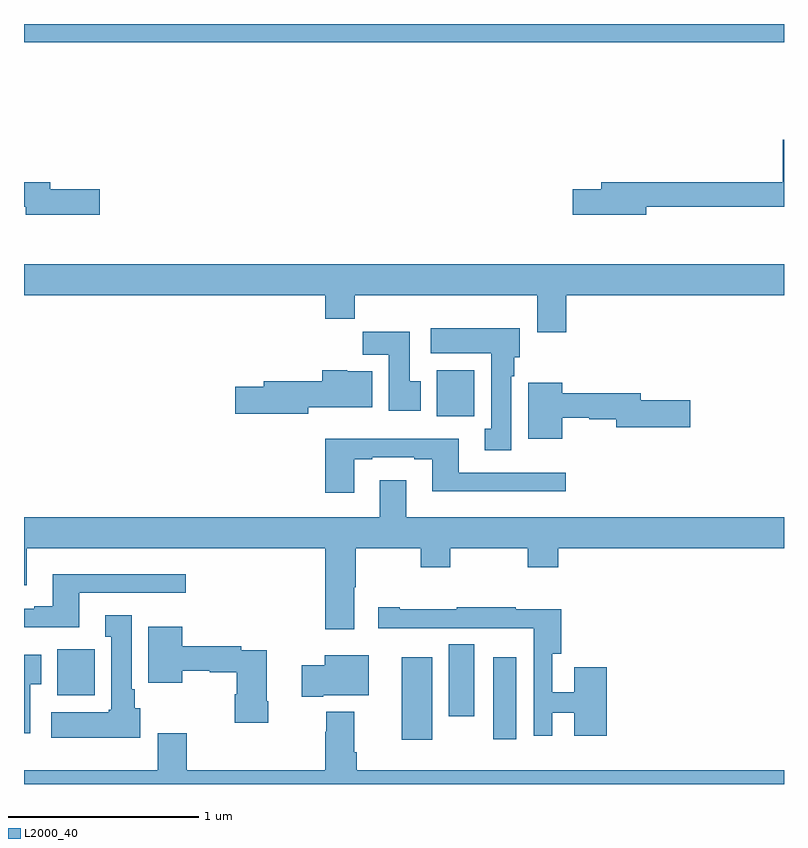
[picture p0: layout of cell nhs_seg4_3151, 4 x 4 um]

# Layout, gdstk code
import gdstk
lib = gdstk.Library(unit=1e-6, precision=1e-09)
def R(c, l, rs):  # rectangles x0, y0, x1, y1
    for r in rs: c.add(gdstk.rectangle(r[:2], r[2:], *l))
def P(c, l, *ps):  # polygons
    for p in ps: c.add(gdstk.Polygon(p, *l))
L2000_40 = (2000, 40)

nhs_seg4_3151 = lib.new_cell('nhs_seg4_3151')
R(nhs_seg4_3151, L2000_40, [(278.987,809.133,279.148,809.566), (279.47,809.136,279.592,809.566), (279.236,809.256,279.37,809.636), (277.175,809.366,277.372,809.608), (279.173,810.836,279.37,811.078), (277,812.804,281,812.9)])
P(nhs_seg4_3151, L2000_40, [(280.276,811.938),(281,811.938),(281,812.29),(280.994,812.29),(280.994,812.066),(280.037,812.066),(280.037,812.03),(279.888,812.03),(279.888,811.895),(280.276,811.895)],
  [(277.399,812.03),(277.138,812.03),(277.138,812.066),(277,812.066),(277,811.938),(277.01,811.938),(277.01,811.895),(277.399,811.895)],
  [(279.854,811.472),(281,811.472),(281,811.636),(277,811.636),(277,811.472),(278.585,811.472),(278.585,811.348),(278.741,811.348),(278.741,811.472),(279.701,811.472),(279.701,811.278),(279.854,811.278)],
  [(279.565,811.046),(279.58,811.046),(279.58,811.146),(279.61,811.146),(279.61,811.3),(279.141,811.3),(279.141,811.166),(279.458,811.166),(279.458,810.77),(279.425,810.77),(279.425,810.657),(279.565,810.657)],
  [(279.088,811.02),(279.031,811.02),(279.031,811.279),(278.782,811.279),(278.782,811.16),(278.921,811.16),(278.921,810.864),(279.088,810.864)],
  [(278.496,810.884),(278.833,810.884),(278.833,811.072),(278.7,811.072),(278.7,811.078),(278.57,811.078),(278.57,811.02),(278.261,811.02),(278.261,810.99),(278.112,810.99),(278.112,810.848),(278.496,810.848)],
  [(279.832,810.828),(279.975,810.828),(279.975,810.82),(280.118,810.82),(280.118,810.778),(280.507,810.778),(280.507,810.92),(280.246,810.92),(280.246,810.956),(279.832,810.956),(279.832,811.012),(279.653,811.012),(279.653,810.716),(279.832,810.716)],
  [(278.737,810.609),(278.833,810.609),(278.833,810.621),(279.053,810.621),(279.053,810.609),(279.149,810.609),(279.149,810.44),(279.85,810.44),(279.85,810.537),(279.289,810.537),(279.289,810.718),(278.585,810.718),(278.585,810.432),(278.737,810.432)],
  [(278.737,809.936),(278.745,809.936),(278.745,810.14),(279.088,810.14),(279.088,810.041),(279.243,810.041),(279.243,810.14),(279.652,810.14),(279.652,810.041),(279.812,810.041),(279.812,810.14),(281,810.14),(281,810.304),(279.013,810.304),(279.013,810.499),(278.873,810.499),(278.873,810.304),(277,810.304),(277,809.946),(277.015,809.946),(277.015,810.14),(278.585,810.14),(278.585,809.715),(278.737,809.715)],
  [(277.291,809.907),(277.852,809.907),(277.852,810.004),(277.151,810.004),(277.151,809.836),(277.055,809.836),(277.055,809.823),(277,809.823),(277,809.726),(277.291,809.726)],
  [(279.78,809.274),(279.896,809.274),(279.896,809.154),(280.067,809.154),(280.067,809.515),(279.896,809.515),(279.896,809.384),(279.78,809.384),(279.78,809.585),(279.827,809.585),(279.827,809.82),(279.587,809.82),(279.587,809.83),(279.277,809.83),(279.277,809.82),(278.977,809.82),(278.977,809.83),(278.865,809.83),(278.865,809.72),(279.14,809.72),(279.14,809.721),(279.474,809.721),(279.474,809.72),(279.684,809.72),(279.684,809.154),(279.78,809.154)],
  [(277.612,809.298),(277.582,809.298),(277.582,809.398),(277.567,809.398),(277.567,809.788),(277.427,809.788),(277.427,809.675),(277.46,809.675),(277.46,809.292),(277.447,809.292),(277.447,809.278),(277.143,809.278),(277.143,809.144),(277.612,809.144)],
  [(278.286,809.335),(278.278,809.335),(278.278,809.604),(278.144,809.604),(278.144,809.624),(277.834,809.624),(277.834,809.728),(277.655,809.728),(277.655,809.432),(277.834,809.432),(277.834,809.496),(277.977,809.496),(277.977,809.488),(278.12,809.488),(278.12,809.373),(278.108,809.373),(278.108,809.223),(278.286,809.223)],
  [(277.033,809.425),(277.09,809.425),(277.09,809.581),(277,809.581),(277,809.166),(277.033,809.166)],
  [(278.575,809.366),(278.815,809.366),(278.815,809.578),(278.582,809.578),(278.582,809.524),(278.463,809.524),(278.463,809.36),(278.575,809.36)],
  [(281,808.972),(278.75,808.972),(278.75,809.068),(278.737,809.068),(278.737,809.281),(278.591,809.281),(278.591,809.174),(278.585,809.174),(278.585,808.972),(277.856,808.972),(277.856,809.167),(277.703,809.167),(277.703,808.972),(277,808.972),(277,808.9),(281,808.9)])

lib.write_gds('nhs_seg4_3151.gds')
